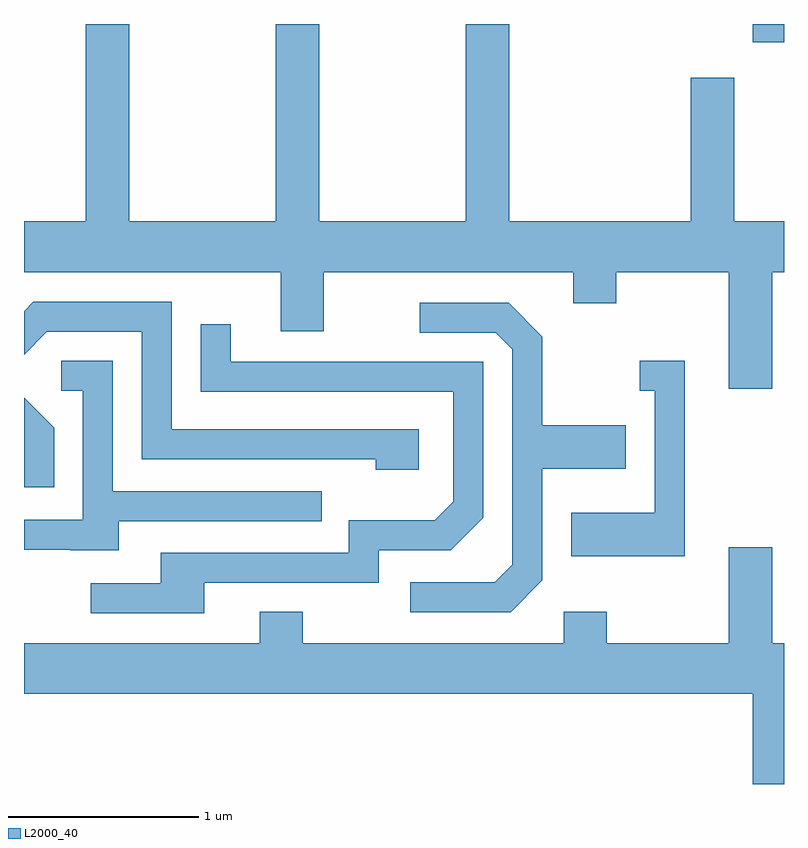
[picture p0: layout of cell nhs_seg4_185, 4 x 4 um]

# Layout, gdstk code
import gdstk
lib = gdstk.Library(unit=1e-6, precision=1e-09)
def R(c, l, rs):  # rectangles x0, y0, x1, y1
    for r in rs: c.add(gdstk.rectangle(r[:2], r[2:], *l))
def P(c, l, *ps):  # polygons
    for p in ps: c.add(gdstk.Polygon(p, *l))
L2000_40 = (2000, 40)

nhs_seg4_185 = lib.new_cell('nhs_seg4_185')
R(nhs_seg4_185, L2000_40, [(193.446,1355.886,193.611,1355.982)])
P(nhs_seg4_185, L2000_40, [(193.549,1354.676),(193.611,1354.676),(193.611,1354.944),(193.349,1354.944),(193.349,1355.699),(193.121,1355.699),(193.121,1354.944),(192.164,1354.944),(192.164,1355.982),(191.936,1355.982),(191.936,1354.944),(191.164,1354.944),(191.164,1355.982),(190.936,1355.982),(190.936,1354.944),(190.164,1354.944),(190.164,1355.982),(189.936,1355.982),(189.936,1354.944),(189.611,1354.944),(189.611,1354.676),(190.961,1354.676),(190.961,1354.366),(191.189,1354.366),(191.189,1354.676),(192.501,1354.676),(192.501,1354.511),(192.729,1354.511),(192.729,1354.676),(193.321,1354.676),(193.321,1354.061),(193.549,1354.061)],
  [(191.689,1353.849),(190.389,1353.849),(190.389,1354.519),(189.659,1354.519),(189.611,1354.471),(189.611,1354.24),(189.732,1354.361),(190.231,1354.361),(190.231,1353.691),(191.461,1353.691),(191.461,1353.636),(191.689,1353.636)],
  [(192.339,1353.054),(192.339,1353.641),(192.779,1353.641),(192.779,1353.869),(192.339,1353.869),(192.339,1354.337),(192.162,1354.514),(191.693,1354.514),(191.693,1354.356),(192.094,1354.356),(192.181,1354.269),(192.181,1353.137),(192.089,1353.044),(191.643,1353.044),(191.643,1352.886),(192.172,1352.886)],
  [(190.559,1353.041),(191.479,1353.041),(191.479,1353.211),(191.857,1353.211),(192.029,1353.384),(192.029,1354.204),(190.699,1354.204),(190.699,1354.403),(190.541,1354.403),(190.541,1354.046),(191.871,1354.046),(191.871,1353.467),(191.774,1353.369),(191.321,1353.369),(191.321,1353.199),(190.331,1353.199),(190.331,1353.039),(189.963,1353.039),(189.963,1352.881),(190.559,1352.881)],
  [(193.089,1354.209),(192.853,1354.209),(192.853,1354.051),(192.931,1354.051),(192.931,1353.409),(192.491,1353.409),(192.491,1353.181),(193.089,1353.181)],
  [(190.109,1353.366),(191.178,1353.366),(191.178,1353.524),(190.079,1353.524),(190.079,1354.209),(189.808,1354.209),(189.808,1354.051),(189.921,1354.051),(189.921,1353.374),(189.611,1353.374),(189.611,1353.216),(189.855,1353.216),(189.855,1353.211),(190.109,1353.211)],
  [(189.769,1353.857),(189.611,1354.015),(189.611,1353.543),(189.769,1353.543)],
  [(193.611,1352.724),(193.549,1352.724),(193.549,1353.229),(193.321,1353.229),(193.321,1352.724),(192.679,1352.724),(192.679,1352.889),(192.451,1352.889),(192.451,1352.724),(191.079,1352.724),(191.079,1352.889),(190.851,1352.889),(190.851,1352.724),(189.611,1352.724),(189.611,1352.456),(193.446,1352.456),(193.446,1351.982),(193.611,1351.982)])

lib.write_gds('nhs_seg4_185.gds')
